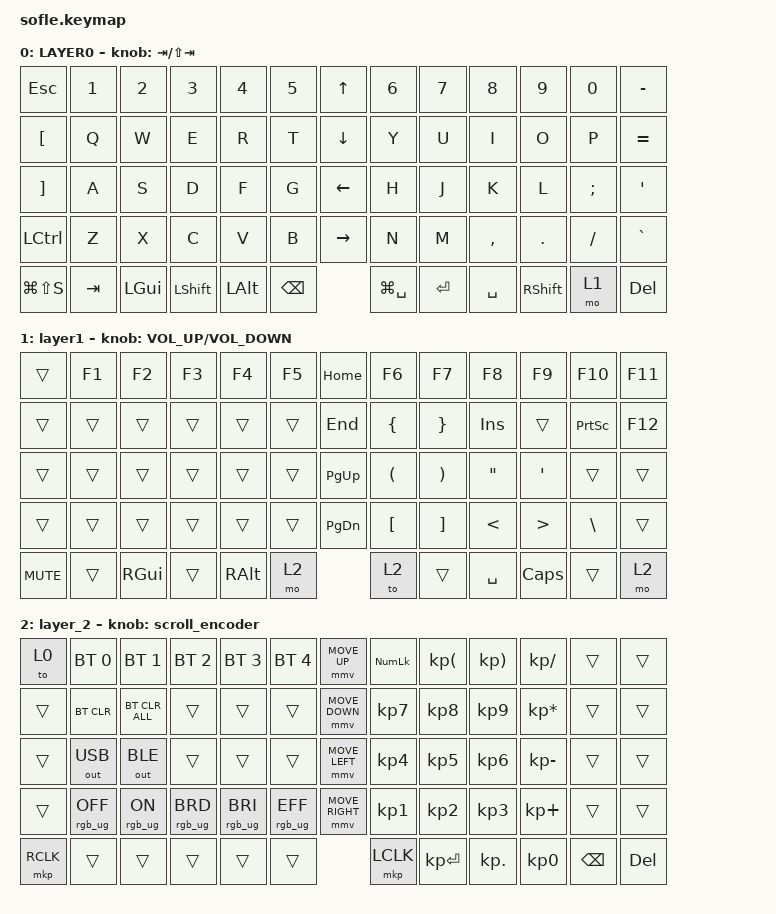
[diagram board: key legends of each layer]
#include <behaviors/mouse_keys.dtsi>
#include <dt-bindings/zmk/mouse.h>
#include <behaviors.dtsi>
#include <dt-bindings/zmk/bt.h>
#include <dt-bindings/zmk/keys.h>
#include <dt-bindings/zmk/outputs.h>
#include <dt-bindings/zmk/rgb.h>

#define ZMK_MOUSE_DEFAULT_MOVE_VAL 1200  // 600
#define ZMK_MOUSE_DEFAULT_SCRL_VAL 20    // 10
#define U_MS_U &mmv MOVE_UP
#define U_MS_D &mmv MOVE_DOWN
#define U_MS_L &mmv MOVE_LEFT
#define U_MS_R &mmv MOVE_RIGHT
#define ZMK_MOUSE_DEFAULT_MOVE_VAL 1200  //  600
#define ZMK_MOUSE_DEFAULT_SCRL_VAL 20    // 10

/ {
    behaviors {
        mmv {
            acceleration-exponent = <1>;      // 1
            time-to-max-speed-ms = <900>;    // 40
            delay-ms = <0>;                   // 0
        };

        msc {
            acceleration-exponent = <1>;      // 0
            time-to-max-speed-ms = <400>;      // 500
            delay-ms = <0>;                   //   10
        };
    };

    scroll_encoder: scroll_encoder {
        compatible = "zmk,behavior-sensor-rotate";
        #sensor-binding-cells = <0>;
        bindings = <&msc SCRL_DOWN>, <&msc SCRL_UP>;

        tap-ms = <5>;
    };

    keymap {
        compatible = "zmk,keymap";

        layer0 {
            bindings = <
&kp ESC            &kp N1   &kp N2        &kp N3          &kp N4  &kp N5           &kp UP_ARROW     &kp N6     &kp N7     &kp N8           &kp N9        &kp N0      &kp MINUS
&kp LEFT_BRACKET   &kp Q    &kp W         &kp E           &kp R   &kp T            &kp DOWN_ARROW   &kp Y      &kp U      &kp I            &kp O         &kp P       &kp EQUAL
&kp RIGHT_BRACKET  &kp A    &kp S         &kp D           &kp F   &kp G            &kp LEFT_ARROW   &kp H      &kp J      &kp K            &kp L         &kp SEMI    &kp APOS
&kp LEFT_CONTROL   &kp Z    &kp X         &kp C           &kp V   &kp B            &kp RIGHT_ARROW  &kp N      &kp M      &kp COMMA        &kp DOT       &kp FSLH    &kp GRAVE
&kp LG(LS(S))      &kp TAB  &kp LEFT_GUI  &kp LEFT_SHIFT  &kp LEFT_ALT   &kp BACKSPACE    &kp LG(SPACE)    &kp ENTER  &kp SPACE  &kp RIGHT_SHIFT  &mo 1  &kp DELETE
            >;

            sensor-bindings = <&inc_dec_kp TAB LS(TAB)>;
            display-name = "LAYER0";
        };

        layer_1 {
            bindings = <
&trans      &kp F1  &kp F2    &kp F3          &kp F4  &kp F5    &kp HOME       &kp F6                &kp F7                 &kp F8             &kp F9            &kp F10          &kp F11
&trans      &trans  &trans    &trans          &trans  &trans    &kp END        &kp LEFT_BRACE        &kp RIGHT_BRACE        &kp INSERT         &trans            &kp PRINTSCREEN  &kp F12
&trans      &trans  &trans    &trans          &trans  &trans    &kp PAGE_UP    &kp LEFT_PARENTHESIS  &kp RIGHT_PARENTHESIS  &kp DOUBLE_QUOTES  &kp SINGLE_QUOTE  &trans           &trans
&trans      &trans  &trans    &trans          &trans  &trans    &kp PAGE_DOWN  &kp LEFT_BRACKET      &kp RIGHT_BRACKET      &kp LESS_THAN      &kp GREATER_THAN  &kp BACKSLASH    &trans
&kp K_MUTE  &trans  &kp RGUI  &trans  &kp RALT  &mo 2     &to 2          &trans                &kp SPACE              &kp CAPS           &trans          &mo 2
            >;

            display-name = "layer1";
            sensor-bindings = <&inc_dec_kp C_VOLUME_UP C_VOLUME_DOWN>;
        };

        layer_2 {
            bindings = <
&to 0      &bt BT_SEL 0     &bt BT_SEL 1    &bt BT_SEL 2     &bt BT_SEL 3     &bt BT_SEL 4       &mmv MOVE_UP     &kp KP_NUMLOCK   &kp KP_LEFT_PARENTHESIS  &kp KP_RIGHT_PARENTHESIS  &kp KP_DIVIDE    &trans      &trans
&trans     &bt BT_CLR       &bt BT_CLR_ALL  &trans           &trans           &trans             &mmv MOVE_DOWN   &kp KP_NUMBER_7  &kp KP_NUMBER_8          &kp KP_NUMBER_9           &kp KP_MULTIPLY  &trans      &trans
&trans     &out OUT_USB     &out OUT_BLE    &trans           &trans           &trans             &mmv MOVE_LEFT   &kp KP_NUMBER_4  &kp KP_NUMBER_5          &kp KP_NUMBER_6           &kp KP_MINUS     &trans      &trans
&trans     &rgb_ug RGB_OFF  &rgb_ug RGB_ON  &rgb_ug RGB_BRD  &rgb_ug RGB_BRI  &rgb_ug RGB_EFF    &mmv MOVE_RIGHT  &kp KP_NUMBER_1  &kp KP_NUMBER_2          &kp KP_NUMBER_3           &kp KP_PLUS      &trans      &trans
&mkp RCLK  &trans           &trans          &trans           &trans           &trans             &mkp LCLK        &kp KP_ENTER     &kp KP_DOT               &kp KP_NUMBER_0           &kp BACKSPACE    &kp DELETE
            >;

            sensor-bindings = <&scroll_encoder>;
        };
    };
};
